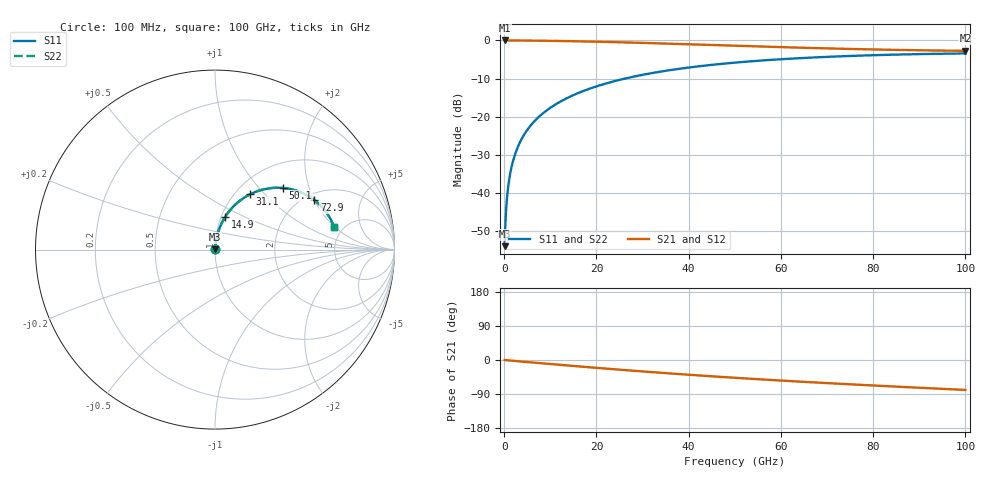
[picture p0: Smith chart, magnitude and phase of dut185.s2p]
! Touchstone file exported from HFSS 2026.1.0
!  File:  C:/ffzhzh/LocalFiles/Ansys_Project_Files/temp_train_RDL_185_1783500445_41296.aedt
!  Generated:  04:48:31 PM Jul  8, 2026
!  Design:  RDL
!  Project:  temp_train_RDL_185_1783500445_41296
! Variables:
!  h_bsmrdl = 2um
!  h_ox = 20um
!  h_rdl = 5um
!  h_sub = 80um
!  h_tmrdl = 4.83um
!  h_tsv = 80um
!  h_via = 3um
!  l_bsmrdl = 300um
!  l_sub = 634.37um
!  l_tmrdl = 234.37um
!  m_sub = 200um
!  pitch = 49.76um
!  r_tsv = 6um
!  s_tmrdl = 10um
!  w_bsmrdl = 18um
!  w_sub = 500um
!  w_tmrdl = 12.98um
!  x_tsv_center1 = 240.86um
!  x_tsv_center2 = 558.86um
!  x_tsv_center3 = 806.21um
!  x_tsv_center4 = 1124.21um
!  x_tsv_center5 = 1371.56um
!  x_tsv_center6 = 1689.56um
# GHz S MA R 50.000000
! Terminal data exported
! Port[1] = TM_RDL1_1_T1
! Port[2] = TM_RDL1_1_T2
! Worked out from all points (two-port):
!   1000 points, 100 MHz to 100 GHz, reference 50 ohm
!   highest |S21| = -0.01 dB at 100 MHz (marker M1); lowest = -2.7 dB at 100 GHz (marker M2)
!   |S21| within 3 dB of the highest: start of sweep to end of sweep
!   lowest |S11| = -54.0 dB at 100 MHz (marker M3), VSWR 1.00, Z = 50.1 + j0.141 ohm
!   |S11| at or under -10 dB: start of sweep to 26.22 GHz
!   |S22| runs from -54.0 to -3.4 dB; largest |S21 - S12| = 6.5e-15
!   S11 on the Smith chart (normalised r, x): 100 MHz: 1.00, +0.00; 14.9 GHz: 1.04, +0.39; 31.1 GHz: 1.17, +0.83; 50.1 GHz: 1.47, +1.37; 72.9 GHz: 2.24, +2.01; 100 GHz: 4.23, +1.93
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0.1  0.002004 44.5  0.9986 -0.1  0.9986 -0.1  0.002004 44.5
! Gamma 0 0 0 0
! Port Impedance 50 0 50 0
0.4  0.00574 74.1  0.9985 -0.4  0.9985 -0.4  0.00574 74.1
0.8  0.01105 80.7  0.9983 -0.9  0.9983 -0.9  0.01106 80.7
1  0.01373 82.0  0.9982 -1.1  0.9982 -1.1  0.01373 82.0
1.3  0.01776 83.0  0.9981 -1.4  0.9981 -1.4  0.01776 83.0
1.7  0.02313 83.7  0.9979 -1.9  0.9979 -1.9  0.02313 83.7
2.2  0.02984 83.9  0.9976 -2.4  0.9976 -2.4  0.02984 83.9
2.8  0.03786 83.8  0.9972 -3.0  0.9972 -3.0  0.03786 83.8
3.6  0.04848 83.3  0.9965 -3.9  0.9965 -3.9  0.04848 83.3
5.5  0.07337 81.7  0.9943 -5.9  0.9943 -5.9  0.07337 81.7
7.9  0.1042 79.5  0.9908 -8.4  0.9908 -8.4  0.1042 79.5
11  0.1431 76.5  0.9851 -11.7  0.9851 -11.7  0.1431 76.5
14.9  0.1905 72.8  0.9764 -15.6  0.9764 -15.6  0.1905 72.8
16.8  0.2129 70.9  0.9714 -17.5  0.9714 -17.5  0.2129 70.9
23.3  0.2857 64.8  0.9519 -23.9  0.9519 -23.9  0.2857 64.8
31.1  0.3641 57.7  0.9242 -31.2  0.9242 -31.2  0.3641 57.7
33.4  0.3852 55.7  0.9155 -33.2  0.9155 -33.2  0.3852 55.7
50.1  0.5119 42.2  0.8511 -47.0  0.8511 -47.0  0.5119 42.1
66.7  0.5961 30.5  0.795 -58.8  0.795 -58.8  0.5961 30.4
72.9  0.6187 26.5  0.7777 -62.9  0.7777 -62.9  0.6187 26.4
83.4  0.6481 20.1  0.7538 -69.3  0.7538 -69.3  0.6481 20.0
100  0.6749 10.6  0.7301 -78.9  0.7301 -78.9  0.675 10.5
